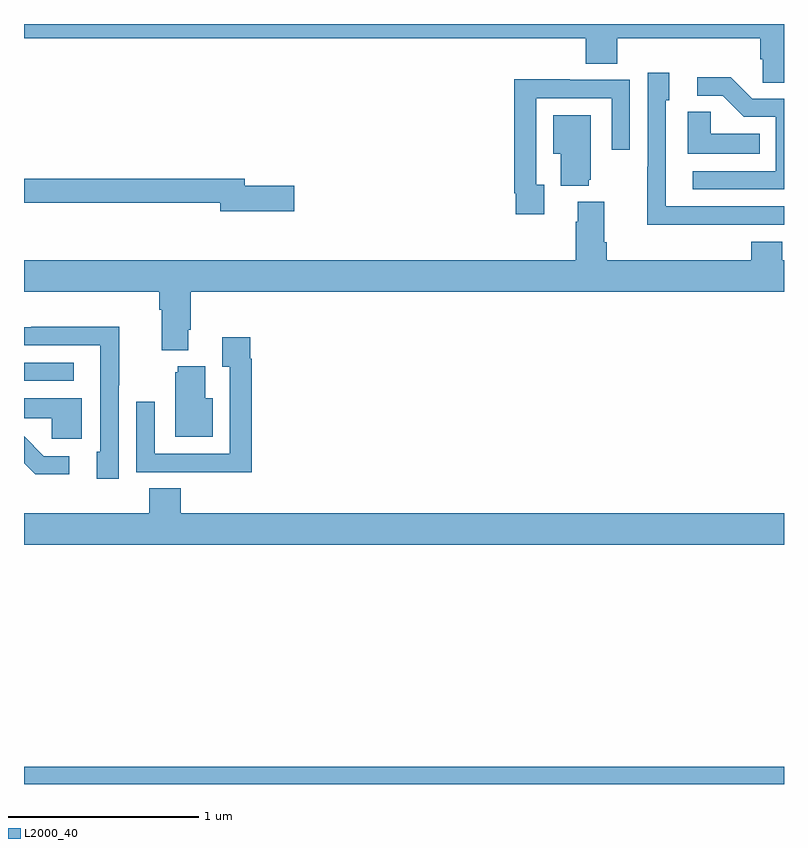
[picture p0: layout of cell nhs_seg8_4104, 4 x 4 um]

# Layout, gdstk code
import gdstk
lib = gdstk.Library(unit=1e-6, precision=1e-09)
def R(c, l, rs):  # rectangles x0, y0, x1, y1
    for r in rs: c.add(gdstk.rectangle(r[:2], r[2:], *l))
def P(c, l, *ps):  # polygons
    for p in ps: c.add(gdstk.Polygon(p, *l))
L2000_40 = (2000, 40)

nhs_seg8_4104 = lib.new_cell('nhs_seg8_4104')
R(nhs_seg8_4104, L2000_40, [(363,1121.9,367,1121.992), (363,1124.022,363.262,1124.118)])
P(nhs_seg8_4104, L2000_40, [(367,1125.9),(363,1125.9),(363,1125.824),(365.957,1125.824),(365.957,1125.691),(366.122,1125.691),(366.122,1125.824),(366.875,1125.824),(366.875,1125.715),(366.888,1125.715),(366.888,1125.592),(367,1125.592)],
  [(366.743,1124.844),(367,1124.844),(367,1124.94),(366.378,1124.94),(366.378,1125.498),(366.397,1125.498),(366.397,1125.643),(366.282,1125.643),(366.282,1125.149),(366.28,1125.149),(366.28,1124.843),(366.743,1124.843)],
  [(367,1125.507),(366.834,1125.507),(366.721,1125.62),(366.543,1125.62),(366.543,1125.522),(366.677,1125.522),(366.788,1125.411),(366.957,1125.411),(366.957,1125.126),(366.519,1125.126),(366.519,1125.03),(367,1125.03)],
  [(365.737,1125.054),(365.697,1125.054),(365.697,1125.51),(366.093,1125.51),(366.093,1125.237),(366.189,1125.237),(366.189,1125.606),(365.873,1125.606),(365.873,1125.608),(365.581,1125.608),(365.581,1125.01),(365.589,1125.01),(365.589,1124.898),(365.737,1124.898)],
  [(366.872,1125.322),(366.615,1125.322),(366.615,1125.437),(366.494,1125.437),(366.494,1125.218),(366.872,1125.218)],
  [(365.972,1125.081),(365.983,1125.081),(365.983,1125.421),(365.786,1125.421),(365.786,1125.218),(365.825,1125.218),(365.825,1125.05),(365.972,1125.05)],
  [(364.423,1125.05),(364.162,1125.05),(364.162,1125.086),(363,1125.086),(363,1124.958),(364.034,1124.958),(364.034,1124.915),(364.423,1124.915)],
  [(363.865,1124.29),(363.878,1124.29),(363.878,1124.492),(367,1124.492),(367,1124.656),(366.992,1124.656),(366.992,1124.755),(366.827,1124.755),(366.827,1124.656),(366.068,1124.656),(366.068,1124.752),(366.055,1124.752),(366.055,1124.965),(365.915,1124.965),(365.915,1124.858),(365.903,1124.858),(365.903,1124.656),(363,1124.656),(363,1124.492),(363.713,1124.492),(363.713,1124.396),(363.725,1124.396),(363.725,1124.183),(363.865,1124.183)],
  [(363.498,1123.999),(363.501,1123.999),(363.501,1124.306),(363.037,1124.306),(363.037,1124.304),(363,1124.304),(363,1124.208),(363.401,1124.208),(363.401,1123.954),(363.402,1123.954),(363.402,1123.65),(363.383,1123.65),(363.383,1123.506),(363.498,1123.506)],
  [(364.199,1124.138),(364.192,1124.138),(364.192,1124.251),(364.043,1124.251),(364.043,1124.095),(364.083,1124.095),(364.083,1123.638),(363.687,1123.638),(363.687,1123.912),(363.591,1123.912),(363.591,1123.542),(363.907,1123.542),(363.907,1123.541),(364.199,1123.541)],
  [(363.994,1123.93),(363.955,1123.93),(363.955,1124.098),(363.809,1124.098),(363.809,1124.067),(363.797,1124.067),(363.797,1123.727),(363.994,1123.727)],
  [(363.304,1123.93),(363,1123.93),(363,1123.826),(363.147,1123.826),(363.147,1123.718),(363.304,1123.718)],
  [(363.238,1123.626),(363.103,1123.626),(363,1123.729),(363,1123.587),(363.059,1123.529),(363.238,1123.529)],
  [(367,1123.324),(363.824,1123.324),(363.824,1123.457),(363.659,1123.457),(363.659,1123.324),(363,1123.324),(363,1123.16),(367,1123.16)])

lib.write_gds('nhs_seg8_4104.gds')
